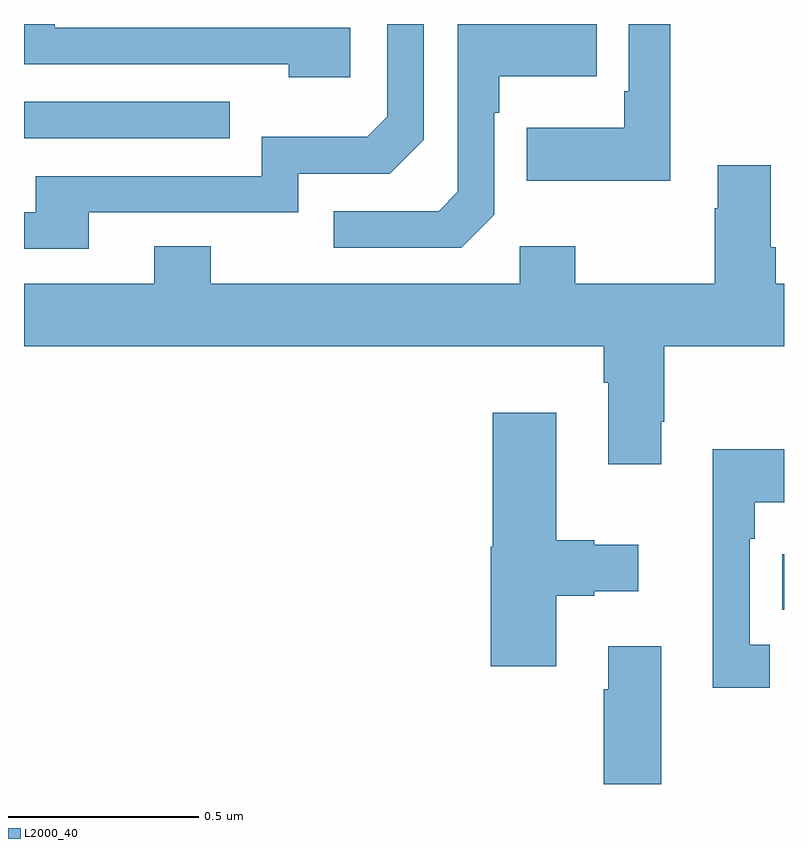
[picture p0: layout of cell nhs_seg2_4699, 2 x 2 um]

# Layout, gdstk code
import gdstk
lib = gdstk.Library(unit=1e-6, precision=1e-09)
def R(c, l, rs):  # rectangles x0, y0, x1, y1
    for r in rs: c.add(gdstk.rectangle(r[:2], r[2:], *l))
def P(c, l, *ps):  # polygons
    for p in ps: c.add(gdstk.Polygon(p, *l))
L2000_40 = (2000, 40)

nhs_seg2_4699 = lib.new_cell('nhs_seg2_4699')
R(nhs_seg2_4699, L2000_40, [(170.995,664.258,171,664.405), (169,665.499,169.541,665.595)])
P(nhs_seg2_4699, L2000_40, [(170.238,665.298),(170.238,665.567),(170.251,665.567),(170.251,665.663),(170.507,665.663),(170.507,665.8),(170.142,665.8),(170.142,665.358),(170.091,665.307),(169.815,665.307),(169.815,665.211),(170.151,665.211)],
  [(170.701,665.8),(170.592,665.8),(170.592,665.623),(170.58,665.623),(170.58,665.527),(170.323,665.527),(170.323,665.387),(170.701,665.387)],
  [(169.858,665.79),(169.081,665.79),(169.081,665.8),(169,665.8),(169,665.694),(169.697,665.694),(169.697,665.66),(169.858,665.66)],
  [(169.171,665.304),(169.722,665.304),(169.722,665.406),(169.962,665.406),(170.052,665.496),(170.052,665.8),(169.956,665.8),(169.956,665.556),(169.903,665.503),(169.626,665.503),(169.626,665.4),(169.031,665.4),(169.031,665.304),(169,665.304),(169,665.208),(169.171,665.208)],
  [(170.825,665.428),(170.825,665.315),(170.818,665.315),(170.818,665.116),(170.451,665.116),(170.451,665.215),(170.304,665.215),(170.304,665.116),(169.491,665.116),(169.491,665.215),(169.343,665.215),(169.343,665.116),(169,665.116),(169,664.952),(170.525,664.952),(170.525,664.856),(170.537,664.856),(170.537,664.641),(170.677,664.641),(170.677,664.753),(170.685,664.753),(170.685,664.952),(171,664.952),(171,665.116),(170.978,665.116),(170.978,665.212),(170.965,665.212),(170.965,665.428)],
  [(170.401,664.295),(170.501,664.295),(170.501,664.307),(170.617,664.307),(170.617,664.429),(170.501,664.429),(170.501,664.442),(170.401,664.442),(170.401,664.777),(170.234,664.777),(170.234,664.425),(170.228,664.425),(170.228,664.11),(170.401,664.11)],
  [(170.962,664.166),(170.91,664.166),(170.91,664.445),(170.923,664.445),(170.923,664.541),(171,664.541),(171,664.681),(170.813,664.681),(170.813,664.053),(170.962,664.053)],
  [(170.677,664.162),(170.537,664.162),(170.537,664.049),(170.525,664.049),(170.525,663.8),(170.677,663.8)])

lib.write_gds('nhs_seg2_4699.gds')
